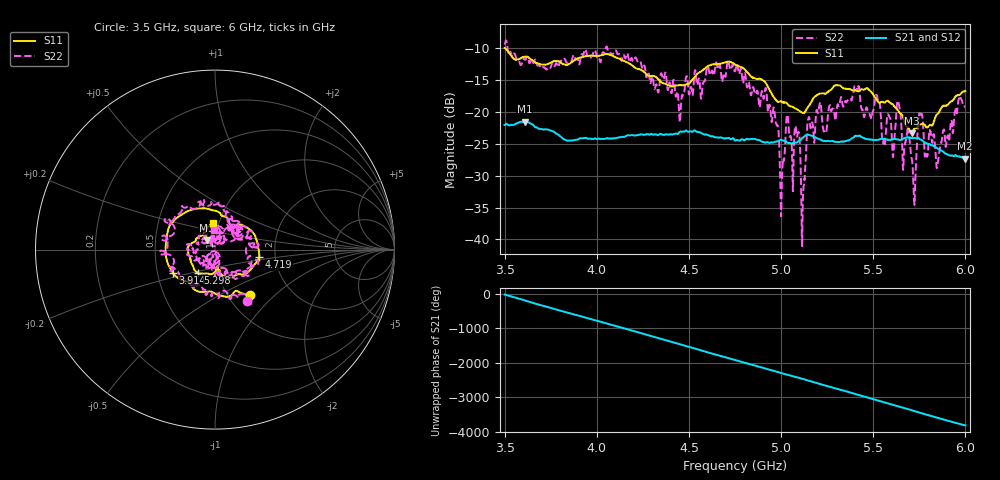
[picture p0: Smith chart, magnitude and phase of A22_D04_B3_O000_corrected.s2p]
! Created with skrf 1.9.0 (http://scikit-rf.org).
# Hz S RI R 50.0
!freq ReS11 ImS11 ReS21 ImS21 ReS12 ImS12 ReS22 ImS22
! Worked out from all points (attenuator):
!   1601 points, 3.5 GHz to 6 GHz, reference 50 ohm
!   highest |S21| = -21.52 dB at 3.609 GHz (marker M1); lowest = -27.3 dB at 5.998 GHz (marker M2)
!   lowest |S11| = -23.3 dB at 5.708 GHz (marker M3), VSWR 1.15, Z = 45.4 + j4.63 ohm
!   |S11| at or under -10 dB: 3.502 GHz to end of sweep
!   |S22| runs from -41.1 to -8.8 dB; largest |S21 - S12| = 0.00098
!   S11 on the Smith chart (normalised r, x): 3.5 GHz: 1.26, -0.71; 3.914 GHz: 0.60, -0.17; 4.719 GHz: 1.64, -0.15; 5.298 GHz: 0.80, -0.22; 6 GHz: 0.94, +0.28
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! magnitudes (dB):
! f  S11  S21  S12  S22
! 3.5 GHz  -10.0  -22.0  -22.0  -9.5
! 3.609 GHz  -11.3  -21.5  -21.5  -11.8
! 3.914 GHz  -11.4  -24.1  -24.1  -11.2
! 3.917 GHz  -11.4  -24.1  -24.1  -11.0
! 4.334 GHz  -14.9  -23.6  -23.5  -16.9
! 4.719 GHz  -12.1  -24.1  -24.1  -12.7
! 4.75 GHz  -12.6  -24.5  -24.4  -13.6
! 4.967 GHz  -17.9  -24.7  -24.6  -20.7
! 5.005 GHz  -18.4  -24.4  -24.4  -30.5
! 5.033 GHz  -18.6  -24.8  -24.7  -20.4
! 5.088 GHz  -19.6  -24.7  -24.7  -23.8
! 5.119 GHz  -20.1  -24.0  -23.9  -33.5
! 5.167 GHz  -18.2  -23.7  -23.7  -21.7
! 5.298 GHz  -15.8  -24.7  -24.6  -20.6
! 5.584 GHz  -18.4  -24.4  -24.3  -20.5
! 5.638 GHz  -19.9  -24.3  -24.3  -18.6
! 5.708 GHz  -23.3  -24.1  -24.0  -27.2
! 5.725 GHz  -22.6  -24.1  -24.0  -33.6
! 5.756 GHz  -21.9  -24.3  -24.2  -20.7
! 5.85 GHz  -20.3  -25.8  -25.7  -28.0
! 5.998 GHz  -16.8  -27.3  -27.2  -19.2
! 6 GHz  -16.7  -27.3  -27.3  -19.2
